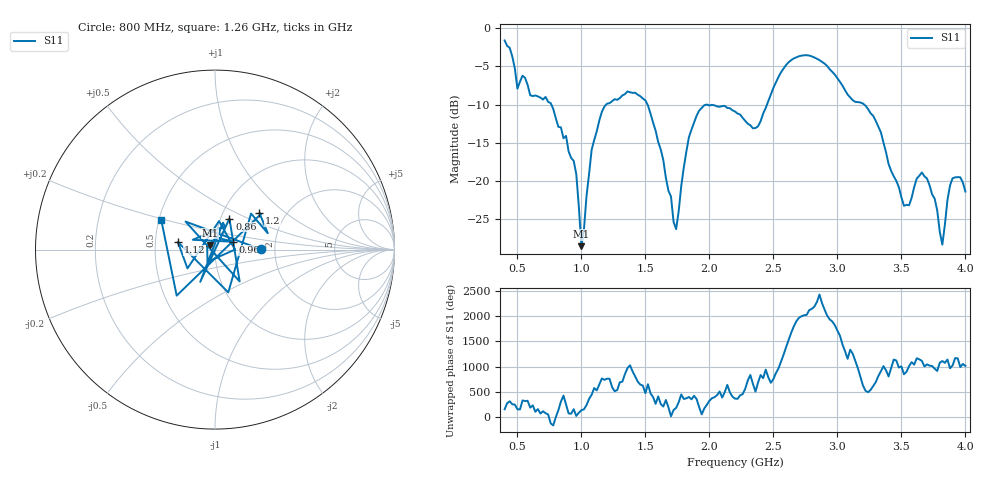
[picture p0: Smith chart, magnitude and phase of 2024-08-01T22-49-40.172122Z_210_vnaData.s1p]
!Created with skrf (http://scikit-rf.org).
# Hz S RI R 50.0
!freq ReS11 ImS11
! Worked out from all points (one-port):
!   181 points, 400 MHz to 4 GHz, reference 50 ohm
!   lowest |S11| = -28.5 dB at 1 GHz (marker M1), VSWR 1.08, Z = 47.3 + j2.43 ohm
!   |S11| at or under -10 dB: 1.517 GHz to 1.977 GHz (459.6 MHz wide, 26.3 % of centre); 1.982 GHz to 2.45 GHz (467.3 MHz wide, 21.1 % of centre); 3.21 GHz to end of sweep (the widest 3 of 4)
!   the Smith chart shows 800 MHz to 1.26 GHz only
!   S11 on the Smith chart (normalised r, x): 800 MHz: 1.69, +0.00; 860 MHz: 1.10, +0.40; 960 MHz: 1.22, +0.11; 1.12 GHz: 0.65, +0.06; 1.2 GHz: 1.48, +0.67; 1.26 GHz: 0.51, +0.20
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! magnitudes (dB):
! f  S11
! 400 MHz  -1.6
! 500 MHz  -7.9
! 800 MHz  -11.8
! 860 MHz  -14.4
! 960 MHz  -19.1
! 1 GHz  -28.5
! 1.08 GHz  -15.9
! 1.12 GHz  -13.5
! 1.2 GHz  -9.9
! 1.26 GHz  -9.3
! 1.3 GHz  -9.1
! 1.5 GHz  -9.4
! 1.64 GHz  -17.3
! 1.72 GHz  -25.3
! 1.76 GHz  -24.0
! 1.84 GHz  -14.3
! 1.92 GHz  -10.8
! 2.2 GHz  -10.9
! 2.38 GHz  -12.8
! 2.66 GHz  -4.0
! 3.1 GHz  -9.0
! 3.28 GHz  -11.5
! 3.56 GHz  -23.2
! 3.66 GHz  -18.9
! 3.76 GHz  -22.3
! 3.82 GHz  -28.3
! 3.9 GHz  -19.6
! 4 GHz  -21.4
